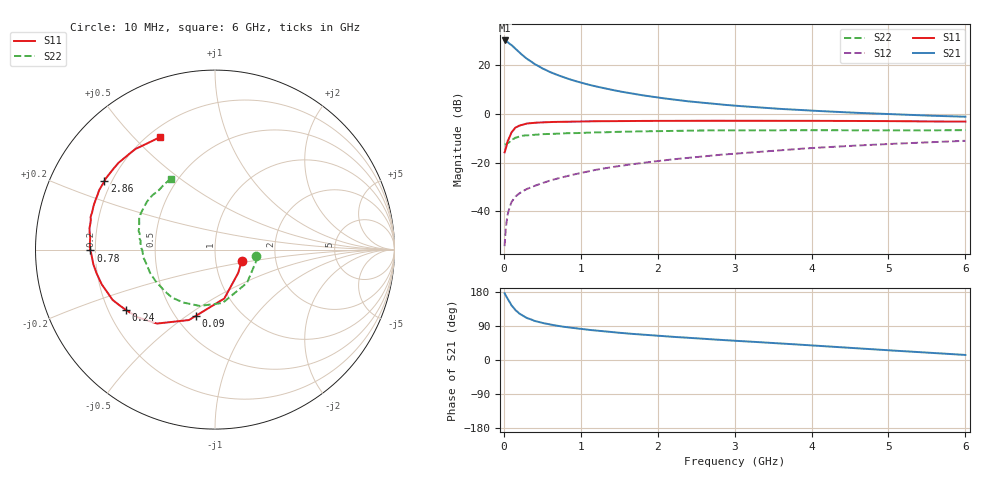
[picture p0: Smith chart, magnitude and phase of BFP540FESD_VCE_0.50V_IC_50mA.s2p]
! Infineon Technologies  Discrete & RF Semiconductors
! BFP540FESD
! VCE = 0.50 V,  IC =  50 mA
! Common Emitter S-Parameters:  Nov 2015
# GHz  S  MA  R  50
!  f  S11  S21  S12  S22
! GHz  MAG  ANG  MAG  ANG  MAG  ANG  MAG  ANG
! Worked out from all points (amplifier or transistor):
!   210 points, 10 MHz to 6 GHz, reference 50 ohm
!   highest |S21| = 30.3 dB at 10 MHz (marker M1)
!   |S21| within 3 dB of that: start of sweep to 136.5 MHz
!   unconditionally stable (mu >= 1): start of sweep to 115.7 MHz; 471.1 MHz to end of sweep
!   at 185 MHz: K = 0.88, MSG = 29.5 dB, |S12| = -33.1 dB
!   at 1.52 GHz: K = 1.21, MAG = 12.5 dB, |S12| = -21.3 dB
!   at 6 GHz: K = 1.24, MAG = 2.0 dB, |S12| = -11.0 dB
!   S11 on the Smith chart (normalised r, x): 10 MHz: 1.33, -0.18; 90 MHz: 0.63, -0.54; 240 MHz: 0.27, -0.28; 780 MHz: 0.18, -0.00; 2.86 GHz: 0.17, +0.28; 6 GHz: 0.25, +0.60
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0.01  0.1622 -23.8  32.56 176.3  0.0019 92.9  0.2326 -9.1
0.02  0.1834 -45.2  31.12 171.9  0.0034 84.5  0.2378 -16.8
0.05  0.2773 -79.2  30.07 160.9  0.0085 76.5  0.2573 -46.2
0.09  0.3834 -106.0  26.77 147.8  0.014 68.1  0.2836 -75.8
0.1  0.4185 -110.3  26.2 144.1  0.0154 67.0  0.3003 -81.9
0.15  0.5237 -128.1  22.05 131.6  0.0199 61.9  0.3251 -105.1
0.2  0.5743 -139.1  18.59 122.8  0.0231 57.8  0.3439 -121.0
0.24  0.6 -146.1  16.34 117.5  0.0253 55.1  0.3551 -129.9
0.3  0.6355 -153.8  13.67 110.8  0.0286 55.3  0.3627 -139.9
0.4  0.6599 -162.9  10.66 103.1  0.0331 55.2  0.3746 -151.7
0.5  0.673 -168.7  8.679 97.7  0.0377 56.5  0.384 -160.0
0.6  0.6827 -173.1  7.293 93.7  0.0427 56.6  0.3877 -165.5
0.78  0.6937 -179.6  5.67 87.7  0.0507 59.3  0.3995 -172.9
1.02  0.6997 174.1  4.334 81.5  0.0618 59.1  0.407 179.9
1.2  0.7093 170.4  3.674 77.7  0.071 59.1  0.4166 175.9
1.5  0.7167 165.3  2.922 71.9  0.0848 58.3  0.4283 170.2
2.02  0.7209 157.3  2.153 63.6  0.1078 55.8  0.4428 163.0
2.86  0.7249 148.3  1.546 52.6  0.1464 50.8  0.458 155.2
3.1  0.7253 146.0  1.442 49.7  0.1569 49.0  0.4601 153.5
4.1  0.7213 137.0  1.149 37.3  0.203 40.7  0.4629 143.7
5.1  0.711 127.0  0.98 24.4  0.2447 30.6  0.4562 132.1
6  0.6973 115.9  0.878 13.3  0.2804 21.5  0.4647 122.0
